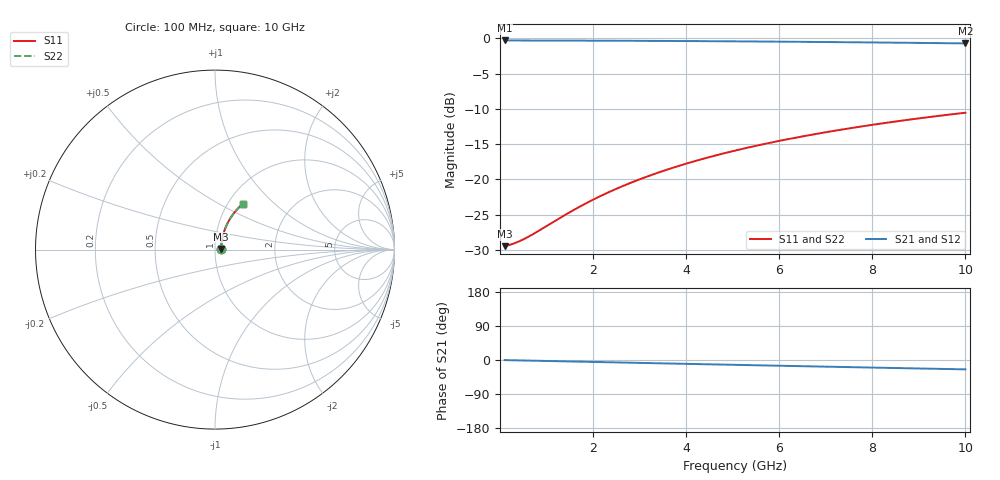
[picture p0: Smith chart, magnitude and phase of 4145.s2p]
# Hz S RI R 50.00
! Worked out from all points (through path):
!   100 points, 100 MHz to 10 GHz, reference 50 ohm
!   highest |S21| = -0.30 dB at 100 MHz (marker M1); lowest = -0.7 dB at 10 GHz (marker M2)
!   group delay of S21, straight-line fit = 6.88 ps
!   lowest |S11| = -29.5 dB at 100 MHz (marker M3), VSWR 1.07, Z = 53.5 + j0.321 ohm
!   |S11| at or under -10 dB: start of sweep to end of sweep
!   |S22| runs from -29.5 to -10.5 dB; largest |S21 - S12| = 0
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1e8  0.0335 0.003  0.9665 -0.00431  0.9665 -0.00431  0.0335 0.003
2e8  0.0337 0.00599  0.9663 -0.00861  0.9663 -0.00861  0.0337 0.00599
3e8  0.0339 0.00899  0.966 -0.0129  0.966 -0.0129  0.0339 0.00899
4e8  0.0342 0.012  0.9658 -0.0172  0.9658 -0.0172  0.0342 0.012
6e8  0.0346 0.0179  0.9653 -0.0258  0.9653 -0.0258  0.0346 0.0179
8e8  0.0352 0.0239  0.9648 -0.0344  0.9648 -0.0344  0.0352 0.0239
1.4e9  0.0373 0.0417  0.9625 -0.06  0.9625 -0.06  0.0373 0.0417
1.8e9  0.0392 0.0535  0.9605 -0.077  0.9605 -0.077  0.0392 0.0535
2.2e9  0.0414 0.0652  0.9581 -0.094  0.9581 -0.094  0.0414 0.0652
2.6e9  0.0441 0.0768  0.9553 -0.1108  0.9553 -0.1108  0.0441 0.0768
3e9  0.0472 0.0882  0.952 -0.1275  0.952 -0.1275  0.0472 0.0882
3.4e9  0.0506 0.0995  0.9484 -0.144  0.9484 -0.144  0.0506 0.0995
3.8e9  0.0544 0.1107  0.9443 -0.1604  0.9443 -0.1604  0.0544 0.1107
4.2e9  0.0586 0.1217  0.9398 -0.1767  0.9398 -0.1767  0.0586 0.1217
4.6e9  0.0632 0.1325  0.9349 -0.1927  0.9349 -0.1927  0.0632 0.1325
5.1e9  0.0694 0.1457  0.9283 -0.2125  0.9283 -0.2125  0.0694 0.1457
5.9e9  0.0804 0.1661  0.9165 -0.2434  0.9165 -0.2434  0.0804 0.1661
6.7e9  0.0926 0.1855  0.9034 -0.2734  0.9034 -0.2734  0.0926 0.1855
7.5e9  0.1061 0.2039  0.8889 -0.3023  0.8889 -0.3023  0.1061 0.2039
8.4e9  0.1225 0.2232  0.8713 -0.3335  0.8713 -0.3335  0.1225 0.2232
9.2e9  0.138 0.2391  0.8544 -0.3599  0.8544 -0.3599  0.138 0.2391
1e10  0.1544 0.2537  0.8367 -0.3852  0.8367 -0.3852  0.1544 0.2537
